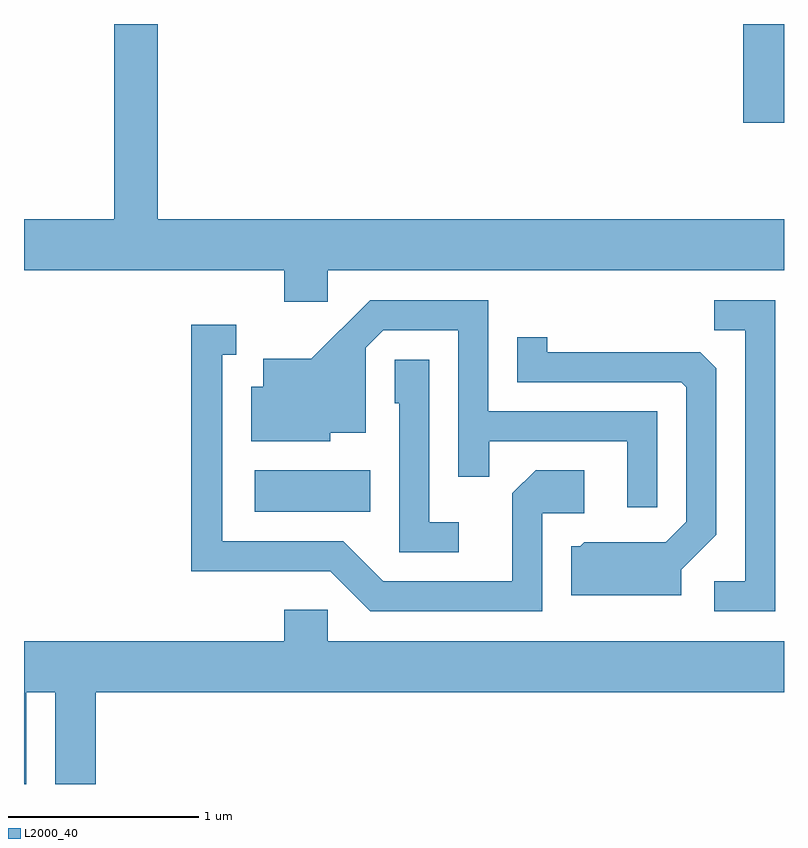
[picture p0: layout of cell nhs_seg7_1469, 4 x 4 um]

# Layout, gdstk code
import gdstk
lib = gdstk.Library(unit=1e-6, precision=1e-09)
def R(c, l, rs):  # rectangles x0, y0, x1, y1
    for r in rs: c.add(gdstk.rectangle(r[:2], r[2:], *l))
def P(c, l, *ps):  # polygons
    for p in ps: c.add(gdstk.Polygon(p, *l))
L2000_40 = (2000, 40)

nhs_seg7_1469 = lib.new_cell('nhs_seg7_1469')
R(nhs_seg7_1469, L2000_40, [(230.826,1739.686,231.434,1739.904), (233.396,1741.731,233.611,1742.252)])
P(nhs_seg7_1469, L2000_40, [(231.209,1740.956),(233.611,1740.956),(233.611,1741.224),(230.314,1741.224),(230.314,1742.252),(230.086,1742.252),(230.086,1741.224),(229.611,1741.224),(229.611,1740.956),(230.981,1740.956),(230.981,1740.791),(231.209,1740.791)],
  [(233.564,1740.799),(233.243,1740.799),(233.243,1740.641),(233.406,1740.641),(233.406,1739.319),(233.243,1739.319),(233.243,1739.161),(233.564,1739.161)],
  [(232.944,1740.214),(232.054,1740.214),(232.054,1740.799),(231.434,1740.799),(231.124,1740.489),(230.871,1740.489),(230.871,1740.344),(230.806,1740.344),(230.806,1740.056),(231.224,1740.056),(231.224,1740.101),(231.409,1740.101),(231.409,1740.549),(231.502,1740.641),(231.896,1740.641),(231.896,1739.868),(232.059,1739.868),(232.059,1740.056),(232.786,1740.056),(232.786,1739.708),(232.944,1739.708)],
  [(232.339,1739.676),(232.559,1739.676),(232.559,1739.904),(232.304,1739.904),(232.181,1739.782),(232.181,1739.319),(231.502,1739.319),(231.292,1739.529),(230.654,1739.529),(230.654,1740.511),(230.728,1740.511),(230.728,1740.669),(230.491,1740.669),(230.491,1739.371),(231.224,1739.371),(231.434,1739.161),(232.339,1739.161)],
  [(233.069,1739.379),(233.254,1739.564),(233.254,1740.439),(233.169,1740.524),(232.364,1740.524),(232.364,1740.603),(232.206,1740.603),(232.206,1740.366),(233.069,1740.366),(233.096,1740.339),(233.096,1739.632),(232.989,1739.524),(232.559,1739.524),(232.539,1739.504),(232.491,1739.504),(232.491,1739.246),(233.069,1739.246)],
  [(231.898,1739.629),(231.744,1739.629),(231.744,1740.484),(231.561,1740.484),(231.561,1740.256),(231.586,1740.256),(231.586,1739.471),(231.898,1739.471)],
  [(229.624,1738.736),(229.776,1738.736),(229.776,1738.252),(229.989,1738.252),(229.989,1738.736),(233.611,1738.736),(233.611,1739.004),(231.209,1739.004),(231.209,1739.169),(230.981,1739.169),(230.981,1739.004),(229.611,1739.004),(229.611,1738.252),(229.624,1738.252)])

lib.write_gds('nhs_seg7_1469.gds')
